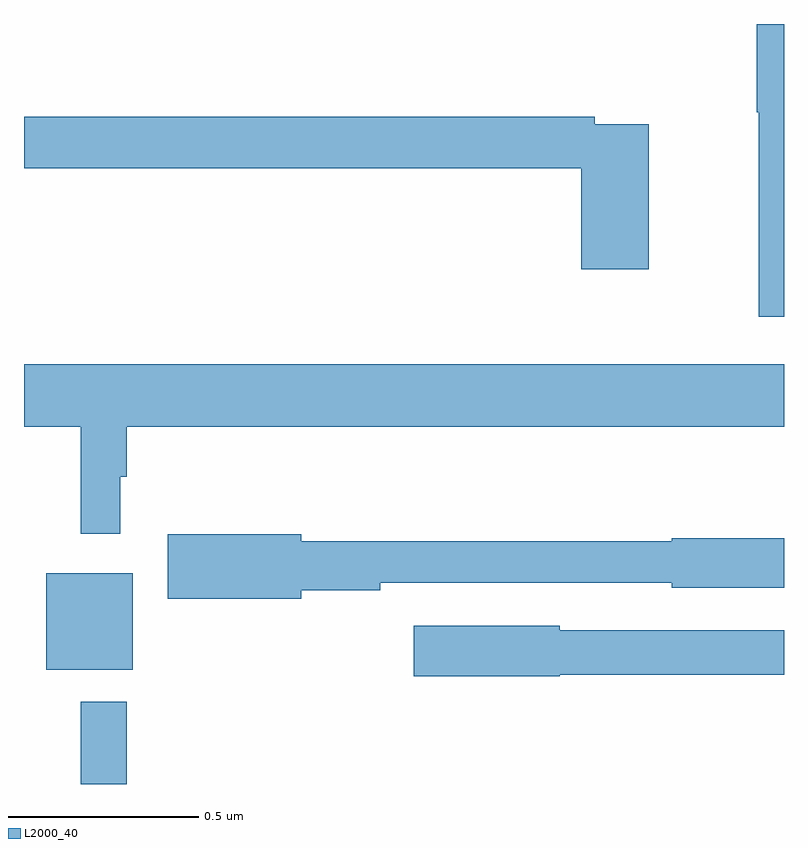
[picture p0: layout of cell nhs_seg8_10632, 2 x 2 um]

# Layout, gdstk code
import gdstk
lib = gdstk.Library(unit=1e-6, precision=1e-09)
def R(c, l, rs):  # rectangles x0, y0, x1, y1
    for r in rs: c.add(gdstk.rectangle(r[:2], r[2:], *l))
def P(c, l, *ps):  # polygons
    for p in ps: c.add(gdstk.Polygon(p, *l))
L2000_40 = (2000, 40)

nhs_seg8_10632 = lib.new_cell('nhs_seg8_10632')
R(nhs_seg8_10632, L2000_40, [(252.149,1108.9,252.271,1109.116), (252.059,1109.201,252.286,1109.455)])
P(nhs_seg8_10632, L2000_40, [(254,1110.9),(253.928,1110.9),(253.928,1110.668),(253.933,1110.668),(253.933,1110.129),(254,1110.129)],
  [(253.644,1110.636),(253.502,1110.636),(253.502,1110.656),(252,1110.656),(252,1110.52),(253.466,1110.52),(253.466,1110.255),(253.644,1110.255)],
  [(252.253,1109.708),(252.271,1109.708),(252.271,1109.84),(254,1109.84),(254,1110.004),(252,1110.004),(252,1109.84),(252.149,1109.84),(252.149,1109.559),(252.253,1109.559)],
  [(252.73,1109.41),(252.938,1109.41),(252.938,1109.43),(253.704,1109.43),(253.704,1109.417),(254,1109.417),(254,1109.547),(253.704,1109.547),(253.704,1109.539),(252.73,1109.539),(252.73,1109.557),(252.378,1109.557),(252.378,1109.387),(252.73,1109.387)],
  [(253.41,1109.188),(254,1109.188),(254,1109.304),(253.41,1109.304),(253.41,1109.317),(253.026,1109.317),(253.026,1109.183),(253.41,1109.183)])

lib.write_gds('nhs_seg8_10632.gds')
